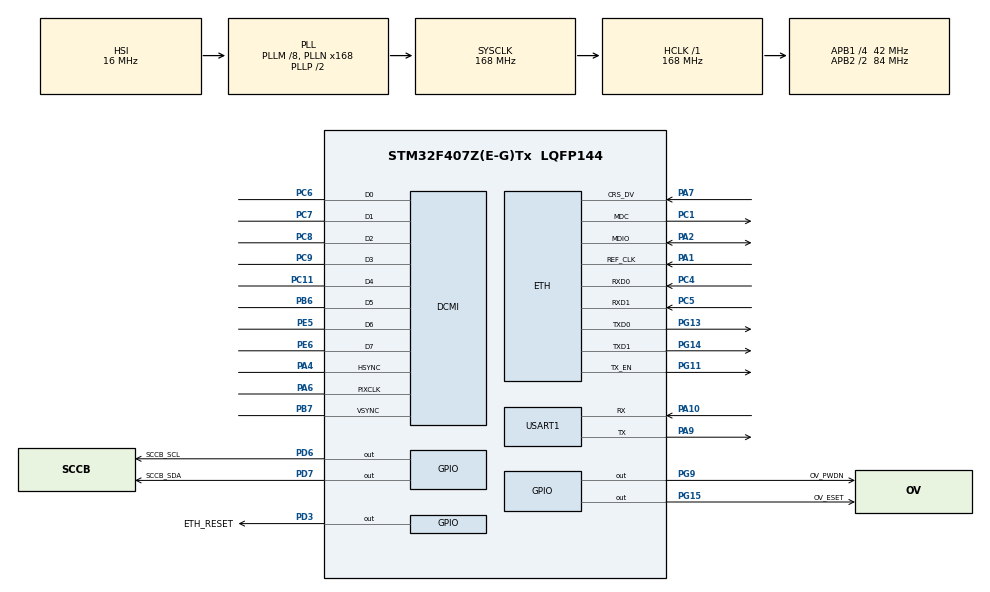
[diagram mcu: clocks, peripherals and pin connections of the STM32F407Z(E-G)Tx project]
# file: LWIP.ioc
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DCMI.JPEGMode=DCMI_JPEG_ENABLE
DCMI.PCKPolarity=DCMI_PCKPOLARITY_RISING
Dma.DCMI.0.Direction=DMA_PERIPH_TO_MEMORY
Dma.DCMI.0.FIFOMode=DMA_FIFOMODE_ENABLE
Dma.DCMI.0.FIFOThreshold=DMA_FIFO_THRESHOLD_HALFFULL
Dma.DCMI.0.Instance=DMA2_Stream1
Dma.DCMI.0.MemBurst=DMA_MBURST_SINGLE
Dma.DCMI.0.MemDataAlignment=DMA_MDATAALIGN_WORD
Dma.DCMI.0.MemInc=DMA_MINC_ENABLE
Dma.DCMI.0.Mode=DMA_CIRCULAR
Dma.DCMI.0.PeriphBurst=DMA_PBURST_SINGLE
Dma.DCMI.0.PeriphDataAlignment=DMA_PDATAALIGN_WORD
Dma.DCMI.0.PeriphInc=DMA_PINC_DISABLE
Dma.DCMI.0.Priority=DMA_PRIORITY_LOW
Dma.Request0=DCMI
ETH.MediaInterface=HAL_ETH_RMII_MODE
ETH.RxMode=ETH_RXINTERRUPT_MODE
FREERTOS.Tasks01=defaultTask,24,128,StartDefaultTask,Default,NULL,Dynamic,NULL,NULL
LWIP.BSP.number=1
LWIP.IP_ADDRESS=192.168.056.010
LWIP.LWIP_DHCP=0
LWIP.NETMASK_ADDRESS=255.255.255.000
LWIP.Version=v2.1.2_Cube
LWIP0.BSP.STBoard=false
LWIP0.BSP.api=BSP_COMPONENT_DRIVER
LWIP0.BSP.component=USER_PHY
LWIP0.BSP.instance=USER_PHY
LWIP0.BSP.name=Driver_PHY
LWIP0.BSP.semaphore=S_USER_PHY
LWIP0.BSP.solution=USER_PHY
Mcu.Family=STM32F4
Mcu.Name=STM32F407Z(E-G)Tx
Mcu.Package=LQFP144
NVIC.DCMI_IRQn=true\:5\:0\:false\:false\:true\:true\:true\:true\:true
NVIC.DMA2_Stream1_IRQn=true\:5\:0\:false\:false\:true\:true\:false\:true\:true
NVIC.ETH_IRQn=true\:5\:0\:false\:false\:true\:true\:true\:true\:true
NVIC.PriorityGroup=NVIC_PRIORITYGROUP_4
NVIC.TIM1_UP_TIM10_IRQn=true\:15\:0\:false\:false\:true\:false\:false\:true\:true
NVIC.TimeBase=TIM1_UP_TIM10_IRQn
NVIC.TimeBaseIP=TIM1
NVIC.USART1_IRQn=true\:5\:0\:false\:false\:true\:true\:true\:true\:true
PA1.Mode=RMII
PA1.Signal=ETH_REF_CLK
PA10.Mode=Asynchronous
PA10.Signal=USART1_RX
PA13.Mode=Serial_Wire
PA13.Signal=SYS_JTMS-SWDIO
PA14.Mode=Serial_Wire
PA14.Signal=SYS_JTCK-SWCLK
PA2.Mode=RMII
PA2.Signal=ETH_MDIO
PA4.Mode=Slave_8_bits_External_Synchro
PA4.Signal=DCMI_HSYNC
PA6.Mode=Slave_8_bits_External_Synchro
PA6.Signal=DCMI_PIXCLK
PA7.Mode=RMII
PA7.Signal=ETH_CRS_DV
PA9.Mode=Asynchronous
PA9.Signal=USART1_TX
PB6.Mode=Slave_8_bits_External_Synchro
PB6.Signal=DCMI_D5
PB7.Mode=Slave_8_bits_External_Synchro
PB7.Signal=DCMI_VSYNC
PC1.Mode=RMII
PC1.Signal=ETH_MDC
PC11.Mode=Slave_8_bits_External_Synchro
PC11.Signal=DCMI_D4
PC14-OSC32_IN.Mode=LSE-External-Oscillator
PC14-OSC32_IN.Signal=RCC_OSC32_IN
PC15-OSC32_OUT.Mode=LSE-External-Oscillator
PC15-OSC32_OUT.Signal=RCC_OSC32_OUT
PC4.Mode=RMII
PC4.Signal=ETH_RXD0
PC5.Mode=RMII
PC5.Signal=ETH_RXD1
PC6.Mode=Slave_8_bits_External_Synchro
PC6.Signal=DCMI_D0
PC7.Mode=Slave_8_bits_External_Synchro
PC7.Signal=DCMI_D1
PC8.Mode=Slave_8_bits_External_Synchro
PC8.Signal=DCMI_D2
PC9.Mode=Slave_8_bits_External_Synchro
PC9.Signal=DCMI_D3
PD3.GPIO_Label=ETH_RESET
PD3.GPIO_ModeDefaultOutputPP=GPIO_MODE_OUTPUT_OD
PD3.GPIO_PuPd=GPIO_PULLUP
PD3.GPIO_Speed=GPIO_SPEED_FREQ_VERY_HIGH
PD3.PinState=GPIO_PIN_SET
PD3.Signal=GPIO_Output
PD6.GPIO_Label=SCCB_SCL
PD6.GPIO_PuPd=GPIO_PULLUP
PD6.GPIO_Speed=GPIO_SPEED_FREQ_VERY_HIGH
PD6.PinState=GPIO_PIN_SET
PD6.Signal=GPIO_Output
PD7.GPIO_Label=SCCB_SDA
PD7.GPIO_ModeDefaultOutputPP=GPIO_MODE_OUTPUT_OD
PD7.GPIO_PuPd=GPIO_PULLUP
PD7.GPIO_Speed=GPIO_SPEED_FREQ_VERY_HIGH
PD7.PinState=GPIO_PIN_SET
PD7.Signal=GPIO_Output
PE5.Mode=Slave_8_bits_External_Synchro
PE5.Signal=DCMI_D6
PE6.Mode=Slave_8_bits_External_Synchro
PE6.Signal=DCMI_D7
PG11.Mode=RMII
PG11.Signal=ETH_TX_EN
PG13.Mode=RMII
PG13.Signal=ETH_TXD0
PG14.Mode=RMII
PG14.Signal=ETH_TXD1
PG15.GPIO_Label=OV_ESET
PG15.GPIO_PuPd=GPIO_PULLUP
PG15.GPIO_Speed=GPIO_SPEED_FREQ_VERY_HIGH
PG15.PinState=GPIO_PIN_SET
PG15.Signal=GPIO_Output
PG9.GPIO_Label=OV_PWDN
PG9.GPIO_PuPd=GPIO_PULLUP
PG9.GPIO_Speed=GPIO_SPEED_FREQ_VERY_HIGH
PG9.PinState=GPIO_PIN_SET
PG9.Signal=GPIO_Output
PH0-OSC_IN.Mode=HSE-External-Oscillator
PH0-OSC_IN.Signal=RCC_OSC_IN
PH1-OSC_OUT.Mode=HSE-External-Oscillator
PH1-OSC_OUT.Signal=RCC_OSC_OUT
ProjectManager.HeapSize=0x200
ProjectManager.StackSize=0x400
ProjectManager.TargetToolchain=MDK-ARM V5.32
RCC.48MHZClocksFreq_Value=84000000
RCC.AHBFreq_Value=168000000
RCC.APB1CLKDivider=RCC_HCLK_DIV4
RCC.APB1Freq_Value=42000000
RCC.APB1TimFreq_Value=84000000
RCC.APB2CLKDivider=RCC_HCLK_DIV2
RCC.APB2Freq_Value=84000000
RCC.APB2TimFreq_Value=168000000
RCC.CortexFreq_Value=168000000
RCC.HCLKFreq_Value=168000000
RCC.HSE_VALUE=25000000
RCC.HSI_VALUE=16000000
RCC.PLLM=8
RCC.PLLN=168
RCC.SYSCLKFreq_VALUE=168000000
RCC.SYSCLKSource=RCC_SYSCLKSOURCE_PLLCLK
RCC.VCOOutputFreq_Value=336000000
USART1.VirtualMode=VM_ASYNC
VP_FREERTOS_VS_CMSIS_V2.Mode=CMSIS_V2
VP_LWIP_VS_Enabled.Mode=Enabled
VP_SYS_VS_tim1.Mode=TIM1
board=custom

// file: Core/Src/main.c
/* USER CODE BEGIN Header */
/**
  ******************************************************************************
  * @file           : main.c
  * @brief          : Main program body
  ******************************************************************************
  * @attention
  *
  * Copyright (c) 2026 STMicroelectronics.
  * All rights reserved.
  *
  * This software is licensed under terms that can be found in the LICENSE file
  * in the root directory of this software component.
  * If no LICENSE file comes with this software, it is provided AS-IS.
  *
  ******************************************************************************
  */
/* USER CODE END Header */
#include "main.h"
#include "cmsis_os.h"
#include "dcmi.h"
#include "dma.h"
#include "lwip.h"
#include "usart.h"
#include "gpio.h"

/* USER CODE BEGIN Includes */
#include "eth_custom_phy_interface.h" /* 使用标准 PHY 寄存器地址和位掩码。 */
#include "lwip/udp.h"                 /* 提供 udp_new/udp_bind/udp_recv/udp_sendto 声明。 */
#include "lwip/tcp.h"                 /* 提供 tcp_new/tcp_bind/tcp_listen/tcp_write/tcp_output 声明。 */
#include "OV2640.h"                        /* 使用摄像头驱动函数。 */
#include "OV2640Run.h"                     /* 使用摄像头采集函数。 */
/* USER CODE END Includes */

void SystemClock_Config(void);
void MX_FREERTOS_Init(void);

int main(void)
{

  /* MCU Configuration--------------------------------------------------------*/

  /* Reset of all peripherals, Initializes the Flash interface and the Systick. */
  HAL_Init();

  /* Configure the system clock */
  SystemClock_Config();

  /* Initialize all configured peripherals */
  MX_GPIO_Init();
  MX_DMA_Init();
  MX_USART1_UART_Init();
  MX_DCMI_Init();

  /* Init scheduler */
  osKernelInitialize();  /* Call init function for freertos objects (in cmsis_os2.c) */
  MX_FREERTOS_Init();

  /* Start scheduler */
  osKernelStart();

  /* We should never get here as control is now taken by the scheduler */

  /* Infinite loop */
  while (1)
  {

  }
}

void SystemClock_Config(void)
{
  RCC_OscInitTypeDef RCC_OscInitStruct = {0};
  RCC_ClkInitTypeDef RCC_ClkInitStruct = {0};

  /** Configure the main internal regulator output voltage
  */
  __HAL_RCC_PWR_CLK_ENABLE();
  __HAL_PWR_VOLTAGESCALING_CONFIG(PWR_REGULATOR_VOLTAGE_SCALE1);

  /** Initializes the RCC Oscillators according to the specified parameters
  * in the RCC_OscInitTypeDef structure.
  */
  RCC_OscInitStruct.OscillatorType = RCC_OSCILLATORTYPE_HSI;
  RCC_OscInitStruct.HSIState = RCC_HSI_ON;
  RCC_OscInitStruct.HSICalibrationValue = RCC_HSICALIBRATION_DEFAULT;
  RCC_OscInitStruct.PLL.PLLState = RCC_PLL_ON;
  RCC_OscInitStruct.PLL.PLLSource = RCC_PLLSOURCE_HSI;
  RCC_OscInitStruct.PLL.PLLM = 8;
  RCC_OscInitStruct.PLL.PLLN = 168;
  RCC_OscInitStruct.PLL.PLLP = RCC_PLLP_DIV2;
  RCC_OscInitStruct.PLL.PLLQ = 4;
  if (HAL_RCC_OscConfig(&RCC_OscInitStruct) != HAL_OK)
  {
    Error_Handler();
  }

  /** Initializes the CPU, AHB and APB buses clocks
  */
  RCC_ClkInitStruct.ClockType = RCC_CLOCKTYPE_HCLK|RCC_CLOCKTYPE_SYSCLK
                              |RCC_CLOCKTYPE_PCLK1|RCC_CLOCKTYPE_PCLK2;
  RCC_ClkInitStruct.SYSCLKSource = RCC_SYSCLKSOURCE_PLLCLK;
  RCC_ClkInitStruct.AHBCLKDivider = RCC_SYSCLK_DIV1;
  RCC_ClkInitStruct.APB1CLKDivider = RCC_HCLK_DIV4;
  RCC_ClkInitStruct.APB2CLKDivider = RCC_HCLK_DIV2;

  if (HAL_RCC_ClockConfig(&RCC_ClkInitStruct, FLASH_LATENCY_5) != HAL_OK)
  {
    Error_Handler();
  }
}

void HAL_TIM_PeriodElapsedCallback(TIM_HandleTypeDef *htim)
{
  if (htim->Instance == TIM1)
  {
    HAL_IncTick();
  }
}

void Error_Handler(void)
{
  __disable_irq();
  while (1)
  {
  }
}

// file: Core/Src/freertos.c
/* USER CODE BEGIN Header */
/**
  ******************************************************************************
  * File Name          : freertos.c
  * Description        : Code for freertos applications
  ******************************************************************************
  * @attention
  *
  * Copyright (c) 2026 STMicroelectronics.
  * All rights reserved.
  *
  * This software is licensed under terms that can be found in the LICENSE file
  * in the root directory of this software component.
  * If no LICENSE file comes with this software, it is provided AS-IS.
  *
  ******************************************************************************
  */
/* USER CODE END Header */

#include "FreeRTOS.h"
#include "task.h"
#include "main.h"
#include "cmsis_os.h"

/* USER CODE BEGIN Includes */
#include "tcp_server.h"
#include "usart.h"
#include "OV2640Run.h"
#include "delay.h"
/* USER CODE END Includes */

/* USER CODE BEGIN PD */
#define APP_PHY_ADDRESS             0U    /* YT8512C 在 MDIO 总线上的地址。 */
#define APP_LINK_CHECK_INTERVAL_MS  100U  /* 两次链路检查之间的最短间隔（毫秒）。 */

/* USER CODE END PD */

/* USER CODE BEGIN Variables */
/* 保存任务句柄。创建成功后，FreeRTOS 会通过它标识这个任务。 */
static osThreadId_t TcpTaskHandle;

/* 计数器：用调试器观察它是否持续增加，就能确认任务在运行。 */
static volatile uint32_t TcpCounter = 0;

/* 任务属性：名称、栈大小和优先级。 */
static const osThreadAttr_t TcpTask_attributes = {
    .name = "TcpTask",              /* 调试时显示的任务名称。 */
    .stack_size = 2048,             /* 摄像头调用链需要比计数示例更多的栈。 */
    .priority = osPriorityNormal,   /* 普通优先级。 */
};

/* TCP 收到拍照请求时释放；摄像头任务等待。 */
osSemaphoreId_t photoSemHandle;
/* 一帧全部进入 lwIP 的复制队列后释放，防止摄像头提前覆盖全局帧缓冲。 */
static osSemaphoreId_t frameQueuedSem;
/* tcpip_callback 异步使用此对象，摄像头任务等待完成前不能改写它。 */
static tcp_image_job_t image_job;
/* USER CODE END Variables */
/* Definitions for defaultTask */
osThreadId_t defaultTaskHandle;
const osThreadAttr_t defaultTask_attributes = {
  .name = "defaultTask",
  .stack_size = 128 * 4,
  .priority = (osPriority_t) osPriorityNormal,
};

/* USER CODE BEGIN FunctionPrototypes */
/* 声明任务入口函数；FreeRTOS 启动任务时会调用它。 */
static void TcpAppTask(void *argument);
void SystemClock_Config(void);
void MX_FREERTOS_Init(void);
/* USER CODE BEGIN PFP */

/* USER CODE END FunctionPrototypes */

void StartDefaultTask(void *argument);

extern void MX_LWIP_Init(void);
void MX_FREERTOS_Init(void); /* (MISRA C 2004 rule 8.1) */

void MX_FREERTOS_Init(void) {

  /* USER CODE BEGIN RTOS_SEMAPHORES */
  /* 两个初始为空的二值信号量：分别表示拍照请求和帧缓冲可复用。 */
  photoSemHandle = osSemaphoreNew(1, 0, NULL);
  frameQueuedSem = osSemaphoreNew(1, 0, NULL);

  if (photoSemHandle == NULL || frameQueuedSem == NULL)
  {
    Error_Handler();  /* 创建失败，例如 FreeRTOS 堆空间不足。 */
  }
  /* USER CODE END RTOS_SEMAPHORES */

  /* Create the thread(s) */
  /* creation of defaultTask */
  defaultTaskHandle = osThreadNew(StartDefaultTask, NULL, &defaultTask_attributes);

  /* USER CODE BEGIN RTOS_THREADS */
  /* 创建任务：
  * 第一个参数是任务入口函数；
  * 第二个参数是传给入口函数的参数，这里不需要，所以传 NULL；
  * 第三个参数是上面定义的任务属性。
  *
  * 这里仅完成“创建”。任务会在 main.c 调用 osKernelStart() 后运行。
  */
  TcpTaskHandle = osThreadNew(TcpAppTask, NULL, &TcpTask_attributes);

  /* 返回 NULL 表示创建失败，例如 FreeRTOS 堆空间不足。 */
  if (TcpTaskHandle == NULL) {
      Error_Handler();
  }
  /* USER CODE END RTOS_THREADS */

}

void StartDefaultTask(void *argument)
{
  /* init code for LWIP */
  MX_LWIP_Init();
  /* USER CODE BEGIN StartDefaultTask */
  delay_init();
  ov2640_init();
  tcpip_callback(TCP_Server_Init, NULL); /* 安排在 lwIP 核心线程启动 TCP 服务 */
  HAL_UART_Transmit(&huart1, (uint8_t *)"TCP Server is running on port 5000\r\n", 36, HAL_MAX_DELAY);
  /* Infinite loop */
  for(;;)
  {
    osDelay(1);
  }
  /* USER CODE END StartDefaultTask */
}

/* USER CODE BEGIN Application */
static void TcpAppTask(void *argument)
{
    err_t post_result;
    (void)argument;
    for (;;)
    {
        uint8_t *frame = NULL;
        uint32_t frame_len = 0U;

        /* 等待 TCP 回调发出的拍照请求，不在 lwIP 核心线程中等待 DCMI。 */
        if (osSemaphoreAcquire(photoSemHandle, osWaitForever) != osOK)
        {
            continue;
        }

        jpeg_test(&frame, &frame_len);
        if (frame == NULL || frame_len == 0U)
        {
            continue; /* 没有得到完整 JPEG，本次不发送。 */
        }

        image_job.data = frame;
        image_job.len = frame_len;
        image_job.queued_sem = frameQueuedSem;

        /* 只投递发送任务；TCP PCB 始终由 lwIP 核心线程访问。 */
        do
        {
            post_result = tcpip_callback(TCP_ImageStart, &image_job);
            if (post_result == ERR_MEM)
            {
                osDelay(10); /* 核心线程邮箱暂满，稍后重试而不覆盖帧。 */
            }
        } while (post_result == ERR_MEM);

        if (post_result == ERR_OK)
        {
            /* 再获取信号量，全部字节已经入队，可以复用帧缓冲*/
            (void)osSemaphoreAcquire(frameQueuedSem, osWaitForever);
            TcpCounter++;
        }
    }
}
/* USER CODE END Application */
